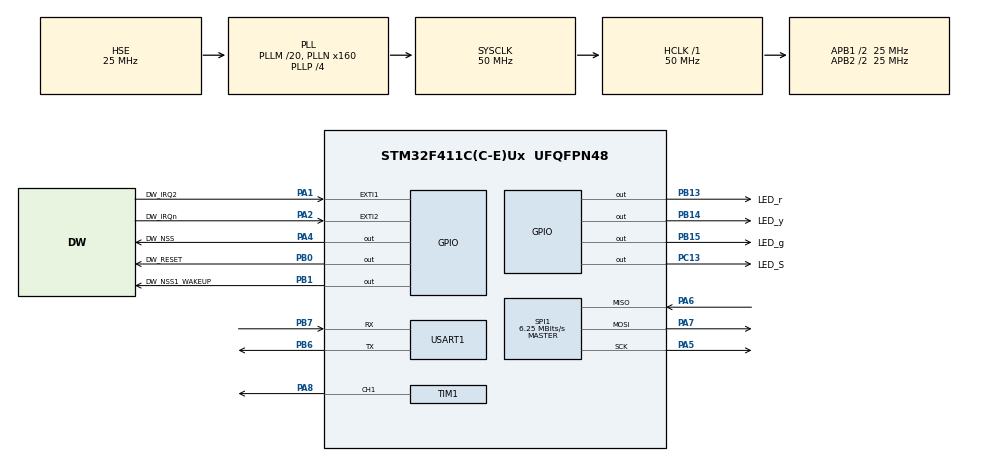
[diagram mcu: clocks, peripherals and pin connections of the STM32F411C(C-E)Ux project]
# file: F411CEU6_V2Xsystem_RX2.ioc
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Mcu.Family=STM32F4
Mcu.Name=STM32F411C(C-E)Ux
Mcu.Package=UFQFPN48
Mcu.UserConstants=LWIP_TIMEVAL_PRIVATE,0
NVIC.PriorityGroup=NVIC_PRIORITYGROUP_4
NVIC.TIM1_CC_IRQn=true\:5\:0\:true\:false\:true\:true\:true\:true
PA1.GPIO_Label=DW_IRQ2
PA1.Signal=GPXTI1
PA13.Mode=Serial_Wire
PA13.Signal=SYS_JTMS-SWDIO
PA14.Mode=Serial_Wire
PA14.Signal=SYS_JTCK-SWCLK
PA2.GPIO_Label=DW_IRQn
PA2.Signal=GPXTI2
PA4.GPIO_Label=DW_NSS
PA4.Signal=GPIO_Output
PA5.Mode=Full_Duplex_Master
PA5.Signal=SPI1_SCK
PA6.Mode=Full_Duplex_Master
PA6.Signal=SPI1_MISO
PA7.Mode=Full_Duplex_Master
PA7.Signal=SPI1_MOSI
PA8.Signal=S_TIM1_CH1
PB0.GPIO_Label=DW_RESET
PB0.Signal=GPIO_Output
PB1.GPIO_Label=DW_NSS1_WAKEUP
PB1.Signal=GPIO_Output
PB13.GPIO_Label=LED_r
PB13.GPIO_PuPd=GPIO_PULLUP
PB13.PinState=GPIO_PIN_SET
PB13.Signal=GPIO_Output
PB14.GPIO_Label=LED_y
PB14.GPIO_PuPd=GPIO_PULLUP
PB14.PinState=GPIO_PIN_SET
PB14.Signal=GPIO_Output
PB15.GPIO_Label=LED_g
PB15.GPIO_PuPd=GPIO_PULLUP
PB15.PinState=GPIO_PIN_SET
PB15.Signal=GPIO_Output
PB6.Mode=Asynchronous
PB6.Signal=USART1_TX
PB7.Mode=Asynchronous
PB7.Signal=USART1_RX
PC13-ANTI_TAMP.GPIO_Label=LED_S
PC13-ANTI_TAMP.Signal=GPIO_Output
PC14-OSC32_IN.Mode=LSE-External-Oscillator
PC14-OSC32_IN.Signal=RCC_OSC32_IN
PC15-OSC32_OUT.Mode=LSE-External-Oscillator
PC15-OSC32_OUT.Signal=RCC_OSC32_OUT
PH0\ -\ OSC_IN.Mode=HSE-External-Oscillator
PH0\ -\ OSC_IN.Signal=RCC_OSC_IN
PH1\ -\ OSC_OUT.Mode=HSE-External-Oscillator
PH1\ -\ OSC_OUT.Signal=RCC_OSC_OUT
ProjectManager.HeapSize=0x200
ProjectManager.StackSize=0x400
ProjectManager.TargetToolchain=STM32CubeIDE
RCC.48MHZClocksFreq_Value=50000000
RCC.AHBFreq_Value=50000000
RCC.APB1CLKDivider=RCC_HCLK_DIV2
RCC.APB1Freq_Value=25000000
RCC.APB1TimFreq_Value=50000000
RCC.APB2CLKDivider=RCC_HCLK_DIV2
RCC.APB2Freq_Value=25000000
RCC.APB2TimFreq_Value=50000000
RCC.CortexFreq_Value=50000000
RCC.HCLKFreq_Value=50000000
RCC.HSE_VALUE=25000000
RCC.HSI_VALUE=16000000
RCC.PLLM=20
RCC.PLLN=160
RCC.PLLP=RCC_PLLP_DIV4
RCC.PLLSourceVirtual=RCC_PLLSOURCE_HSE
RCC.SYSCLKFreq_VALUE=50000000
RCC.SYSCLKSource=RCC_SYSCLKSOURCE_PLLCLK
RCC.VCOOutputFreq_Value=200000000
SH.S_TIM1_CH1.0=TIM1_CH1,Output Compare1 CH1
SPI1.BaudRatePrescaler=SPI_BAUDRATEPRESCALER_4
SPI1.CalculateBaudRate=6.25 MBits/s
SPI1.Direction=SPI_DIRECTION_2LINES
SPI1.Mode=SPI_MODE_MASTER
SPI1.VirtualType=VM_MASTER
TIM1.Channel-Output\ Compare1\ CH1=TIM_CHANNEL_1
TIM1.ClockDivision=TIM_CLOCKDIVISION_DIV2
USART1.VirtualMode=VM_ASYNC
VP_TIM1_VS_ClockSourceINT.Mode=Internal
VP_TIM1_VS_ClockSourceITR.Mode=TriggerSource_ITR0
VP_TIM1_VS_ControllerModeTrigger.Mode=Trigger Mode
board=custom

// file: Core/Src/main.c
/* USER CODE BEGIN Header */
/**
  ******************************************************************************
  * @file           : main.c
  * @brief          : Main program body
  ******************************************************************************
  * @attention
  *
  * Copyright (c) 2023 STMicroelectronics.
  * All rights reserved.
  *
  * This software is licensed under terms that can be found in the LICENSE file
  * in the root directory of this software component.
  * If no LICENSE file comes with this software, it is provided AS-IS.
  *
  ******************************************************************************
  */
/* USER CODE END Header */
#include "main.h"

/* USER CODE BEGIN Includes */
//#include "examples_defines.h"
#include <port.h>
#include <stm32f4xx_hal.h>

#include "TWR_uwb.c"
#include "PDOA_uwb.c"
#include "get_XY_coo.c"
/* USER CODE END Includes */

SPI_HandleTypeDef hspi1;

TIM_HandleTypeDef htim1;

UART_HandleTypeDef huart1;

/* USER CODE BEGIN PV */

SPI_HandleTypeDef   *hcurrent_active_spi=&hspi1;
uint16_t            pin_io_active_spi=DW_NSS_Pin;
GPIO_PinState       SPI_CS_state=GPIO_PIN_RESET;
host_using_spi_e    host_spi = SPI_1;
/* USER CODE END PV */

void SystemClock_Config(void);
static void MX_GPIO_Init(void);
static void MX_SPI1_Init(void);
static void MX_USART1_UART_Init(void);
static void MX_TIM1_Init(void);

/* USER CODE BEGIN 0 */

extern struct data data_rx;
extern int unit_test_main(void);

void test_run_info(unsigned char *data){

	uint16_t data_length = strlen((const char *)data);
	HAL_UART_Transmit(&huart1, data, data_length, 10);
}

/* USER CODE END 0 */

int main(void){

	/* MCU Configuration--------------------------------------------------------*/

	/* Reset of all peripherals, Initializes the Flash interface and the Systick. */
	HAL_Init();

	/* Configure the system clock */
	SystemClock_Config();

	/* Initialize all configured peripherals */
	MX_GPIO_Init();
	MX_SPI1_Init();
	MX_USART1_UART_Init();
	MX_TIM1_Init();
	/* USER CODE BEGIN 2 */

	/* USER CODE BEGIN 2 */
	port_DisableEXT_IRQ();
	setup_DWICRSTnIRQ(0);

	HAL_GPIO_WritePin(GPIOB,  GPIO_PIN_13|GPIO_PIN_14|GPIO_PIN_15, GPIO_PIN_SET);

	/* USER CODE END 2 */

	/* Infinite loop */
	/* USER CODE BEGIN WHILE */
	while (1){

		HAL_GPIO_WritePin(GPIOB,  GPIO_PIN_15, GPIO_PIN_RESET);
		UWB_pdoa();
		HAL_GPIO_WritePin(GPIOB,  GPIO_PIN_15, GPIO_PIN_SET);

		HAL_GPIO_WritePin(GPIOB,  GPIO_PIN_13, GPIO_PIN_RESET);
		ss_twr_initiator_RX(data_rx.C_dist, &data_rx.C_dist_f, data_rx.P_dist, &data_rx.P_dist_f);
		HAL_GPIO_WritePin(GPIOB,  GPIO_PIN_13, GPIO_PIN_SET);

		HAL_GPIO_WritePin(GPIOB,  GPIO_PIN_14, GPIO_PIN_RESET);
		test_run_info((unsigned char *)"[type:Tli, PDoA : ");
		test_run_info((unsigned char *)&data_rx.T_pdoa);
		test_run_info((unsigned char *)", data : ");
		test_run_info((unsigned char *)&data_rx.T_data);
		test_run_info((unsigned char *)", Time : ");
		test_run_info((unsigned char *)&data_rx.T_time);
		test_run_info((unsigned char *)"]\n");

		test_run_info((unsigned char *)"[type:car, PDoA : ");
		test_run_info((unsigned char *)&data_rx.C_pdoa);
		test_run_info((unsigned char *)", DIST : ");
		test_run_info((unsigned char *)&data_rx.C_dist);

		get_XY_cood(data_rx.C_pdoa_f, data_rx.C_dist_f, data_rx.C_x, data_rx.C_y);

		test_run_info((unsigned char *)", X : ");
		test_run_info((unsigned char *)&data_rx.C_x);
		test_run_info((unsigned char *)", Y : ");
		test_run_info((unsigned char *)&data_rx.C_y);

		test_run_info((unsigned char *)"]\n[type:Ped, PDoA : ");
		test_run_info((unsigned char *)&data_rx.P_pdoa);
		test_run_info((unsigned char *)", DIST : ");
		test_run_info((unsigned char *)&data_rx.P_dist);

		get_XY_cood(data_rx.P_pdoa_f, data_rx.P_dist_f, data_rx.P_x, data_rx.P_y);

		test_run_info((unsigned char *)", X : ");
		test_run_info((unsigned char *)&data_rx.P_x);
		test_run_info((unsigned char *)", Y : ");
		test_run_info((unsigned char *)&data_rx.P_y);
		test_run_info((unsigned char *)"]\n");

		HAL_GPIO_WritePin(GPIOB,  GPIO_PIN_14, GPIO_PIN_SET);

	/* USER CODE END WHILE */

	}
}

void SystemClock_Config(void){
	RCC_OscInitTypeDef RCC_OscInitStruct = {0};
	RCC_ClkInitTypeDef RCC_ClkInitStruct = {0};

	/** Configure the main internal regulator output voltage
	*/
	__HAL_RCC_PWR_CLK_ENABLE();
	__HAL_PWR_VOLTAGESCALING_CONFIG(PWR_REGULATOR_VOLTAGE_SCALE1);

	/** Initializes the RCC Oscillators according to the specified parameters
	* in the RCC_OscInitTypeDef structure.
	*/
	RCC_OscInitStruct.OscillatorType = RCC_OSCILLATORTYPE_HSE;
	RCC_OscInitStruct.HSEState = RCC_HSE_ON;
	RCC_OscInitStruct.PLL.PLLState = RCC_PLL_ON;
	RCC_OscInitStruct.PLL.PLLSource = RCC_PLLSOURCE_HSE;
	RCC_OscInitStruct.PLL.PLLM = 20;
	RCC_OscInitStruct.PLL.PLLN = 160;
	RCC_OscInitStruct.PLL.PLLP = RCC_PLLP_DIV4;
	RCC_OscInitStruct.PLL.PLLQ = 4;
	if (HAL_RCC_OscConfig(&RCC_OscInitStruct) != HAL_OK)
	{
	Error_Handler();
	}

	/** Initializes the CPU, AHB and APB buses clocks
	*/
	RCC_ClkInitStruct.ClockType = RCC_CLOCKTYPE_HCLK|RCC_CLOCKTYPE_SYSCLK
							  |RCC_CLOCKTYPE_PCLK1|RCC_CLOCKTYPE_PCLK2;
	RCC_ClkInitStruct.SYSCLKSource = RCC_SYSCLKSOURCE_PLLCLK;
	RCC_ClkInitStruct.AHBCLKDivider = RCC_SYSCLK_DIV1;
	RCC_ClkInitStruct.APB1CLKDivider = RCC_HCLK_DIV2;
	RCC_ClkInitStruct.APB2CLKDivider = RCC_HCLK_DIV2;

	if (HAL_RCC_ClockConfig(&RCC_ClkInitStruct, FLASH_LATENCY_1) != HAL_OK){
	Error_Handler();
	}
}

static void MX_SPI1_Init(void){

	/* SPI1 parameter configuration*/
	hspi1.Instance = SPI1;
	hspi1.Init.Mode = SPI_MODE_MASTER;
	hspi1.Init.Direction = SPI_DIRECTION_2LINES;
	hspi1.Init.DataSize = SPI_DATASIZE_8BIT;
	hspi1.Init.CLKPolarity = SPI_POLARITY_LOW;
	hspi1.Init.CLKPhase = SPI_PHASE_1EDGE;
	hspi1.Init.NSS = SPI_NSS_SOFT;
	hspi1.Init.BaudRatePrescaler = SPI_BAUDRATEPRESCALER_4;
	hspi1.Init.FirstBit = SPI_FIRSTBIT_MSB;
	hspi1.Init.TIMode = SPI_TIMODE_DISABLE;
	hspi1.Init.CRCCalculation = SPI_CRCCALCULATION_DISABLE;
	hspi1.Init.CRCPolynomial = 10;
	if (HAL_SPI_Init(&hspi1) != HAL_OK){
	Error_Handler();
	}

}

static void MX_TIM1_Init(void){

	TIM_ClockConfigTypeDef sClockSourceConfig = {0};
	TIM_SlaveConfigTypeDef sSlaveConfig = {0};
	TIM_MasterConfigTypeDef sMasterConfig = {0};
	TIM_OC_InitTypeDef sConfigOC = {0};
	TIM_BreakDeadTimeConfigTypeDef sBreakDeadTimeConfig = {0};

	htim1.Instance = TIM1;
	htim1.Init.Prescaler = 0;
	htim1.Init.CounterMode = TIM_COUNTERMODE_UP;
	htim1.Init.Period = 65535;
	htim1.Init.ClockDivision = TIM_CLOCKDIVISION_DIV2;
	htim1.Init.RepetitionCounter = 0;
	htim1.Init.AutoReloadPreload = TIM_AUTORELOAD_PRELOAD_DISABLE;
	if (HAL_TIM_Base_Init(&htim1) != HAL_OK)
	{
	Error_Handler();
	}
	sClockSourceConfig.ClockSource = TIM_CLOCKSOURCE_INTERNAL;
	if (HAL_TIM_ConfigClockSource(&htim1, &sClockSourceConfig) != HAL_OK)
	{
	Error_Handler();
	}
	if (HAL_TIM_OC_Init(&htim1) != HAL_OK)
	{
	Error_Handler();
	}
	sSlaveConfig.SlaveMode = TIM_SLAVEMODE_TRIGGER;
	sSlaveConfig.InputTrigger = TIM_TS_ITR0;
	if (HAL_TIM_SlaveConfigSynchro(&htim1, &sSlaveConfig) != HAL_OK)
	{
	Error_Handler();
	}
	sMasterConfig.MasterOutputTrigger = TIM_TRGO_RESET;
	sMasterConfig.MasterSlaveMode = TIM_MASTERSLAVEMODE_DISABLE;
	if (HAL_TIMEx_MasterConfigSynchronization(&htim1, &sMasterConfig) != HAL_OK)
	{
	Error_Handler();
	}
	sConfigOC.OCMode = TIM_OCMODE_TIMING;
	sConfigOC.Pulse = 0;
	sConfigOC.OCPolarity = TIM_OCPOLARITY_HIGH;
	sConfigOC.OCNPolarity = TIM_OCNPOLARITY_HIGH;
	sConfigOC.OCFastMode = TIM_OCFAST_DISABLE;
	sConfigOC.OCIdleState = TIM_OCIDLESTATE_RESET;
	sConfigOC.OCNIdleState = TIM_OCNIDLESTATE_RESET;
	if (HAL_TIM_OC_ConfigChannel(&htim1, &sConfigOC, TIM_CHANNEL_1) != HAL_OK)
	{
	Error_Handler();
	}
	sBreakDeadTimeConfig.OffStateRunMode = TIM_OSSR_DISABLE;
	sBreakDeadTimeConfig.OffStateIDLEMode = TIM_OSSI_DISABLE;
	sBreakDeadTimeConfig.LockLevel = TIM_LOCKLEVEL_OFF;
	sBreakDeadTimeConfig.DeadTime = 0;
	sBreakDeadTimeConfig.BreakState = TIM_BREAK_DISABLE;
	sBreakDeadTimeConfig.BreakPolarity = TIM_BREAKPOLARITY_HIGH;
	sBreakDeadTimeConfig.AutomaticOutput = TIM_AUTOMATICOUTPUT_DISABLE;
	if (HAL_TIMEx_ConfigBreakDeadTime(&htim1, &sBreakDeadTimeConfig) != HAL_OK)
	{
	Error_Handler();
	}
	HAL_TIM_MspPostInit(&htim1);

}

static void MX_USART1_UART_Init(void)
{

  huart1.Instance = USART1;
  huart1.Init.BaudRate = 115200;
  huart1.Init.WordLength = UART_WORDLENGTH_8B;
  huart1.Init.StopBits = UART_STOPBITS_1;
  huart1.Init.Parity = UART_PARITY_NONE;
  huart1.Init.Mode = UART_MODE_TX_RX;
  huart1.Init.HwFlowCtl = UART_HWCONTROL_NONE;
  huart1.Init.OverSampling = UART_OVERSAMPLING_16;
  if (HAL_UART_Init(&huart1) != HAL_OK)
  {
    Error_Handler();
  }

}

static void MX_GPIO_Init(void){
	GPIO_InitTypeDef GPIO_InitStruct = {0};

	/* GPIO Ports Clock Enable */
	__HAL_RCC_GPIOC_CLK_ENABLE();
	__HAL_RCC_GPIOH_CLK_ENABLE();
	__HAL_RCC_GPIOA_CLK_ENABLE();
	__HAL_RCC_GPIOB_CLK_ENABLE();

	/*Configure GPIO pin Output Level */
	HAL_GPIO_WritePin(LED_S_GPIO_Port, LED_S_Pin, GPIO_PIN_RESET);

	/*Configure GPIO pin Output Level */
	HAL_GPIO_WritePin(DW_NSS_GPIO_Port, DW_NSS_Pin, GPIO_PIN_RESET);

	/*Configure GPIO pin Output Level */
	HAL_GPIO_WritePin(GPIOB, DW_RESET_Pin|DW_NSS1_WAKEUP_Pin, GPIO_PIN_RESET);

	/*Configure GPIO pin Output Level */
	HAL_GPIO_WritePin(GPIOB, LED_r_Pin|LED_y_Pin|LED_g_Pin, GPIO_PIN_SET);

	/*Configure GPIO pin : LED_S_Pin */
	GPIO_InitStruct.Pin = LED_S_Pin;
	GPIO_InitStruct.Mode = GPIO_MODE_OUTPUT_PP;
	GPIO_InitStruct.Pull = GPIO_NOPULL;
	GPIO_InitStruct.Speed = GPIO_SPEED_FREQ_LOW;
	HAL_GPIO_Init(LED_S_GPIO_Port, &GPIO_InitStruct);

	/*Configure GPIO pins : DW_IRQ2_Pin DW_IRQn_Pin */
	GPIO_InitStruct.Pin = DW_IRQ2_Pin|DW_IRQn_Pin;
	GPIO_InitStruct.Mode = GPIO_MODE_IT_RISING;
	GPIO_InitStruct.Pull = GPIO_NOPULL;
	HAL_GPIO_Init(GPIOA, &GPIO_InitStruct);

	/*Configure GPIO pin : DW_NSS_Pin */
	GPIO_InitStruct.Pin = DW_NSS_Pin;
	GPIO_InitStruct.Mode = GPIO_MODE_OUTPUT_PP;
	GPIO_InitStruct.Pull = GPIO_NOPULL;
	GPIO_InitStruct.Speed = GPIO_SPEED_FREQ_LOW;
	HAL_GPIO_Init(DW_NSS_GPIO_Port, &GPIO_InitStruct);

	/*Configure GPIO pins : DW_RESET_Pin DW_NSS1_WAKEUP_Pin */
	GPIO_InitStruct.Pin = DW_RESET_Pin|DW_NSS1_WAKEUP_Pin;
	GPIO_InitStruct.Mode = GPIO_MODE_OUTPUT_PP;
	GPIO_InitStruct.Pull = GPIO_NOPULL;
	GPIO_InitStruct.Speed = GPIO_SPEED_FREQ_LOW;
	HAL_GPIO_Init(GPIOB, &GPIO_InitStruct);

	/*Configure GPIO pins : LED_r_Pin LED_y_Pin LED_g_Pin */
	GPIO_InitStruct.Pin = LED_r_Pin|LED_y_Pin|LED_g_Pin;
	GPIO_InitStruct.Mode = GPIO_MODE_OUTPUT_PP;
	GPIO_InitStruct.Pull = GPIO_PULLUP;
	GPIO_InitStruct.Speed = GPIO_SPEED_FREQ_LOW;
	HAL_GPIO_Init(GPIOB, &GPIO_InitStruct);

}

void Error_Handler(void){
	__disable_irq();
	while (1)
	{
	}
}
